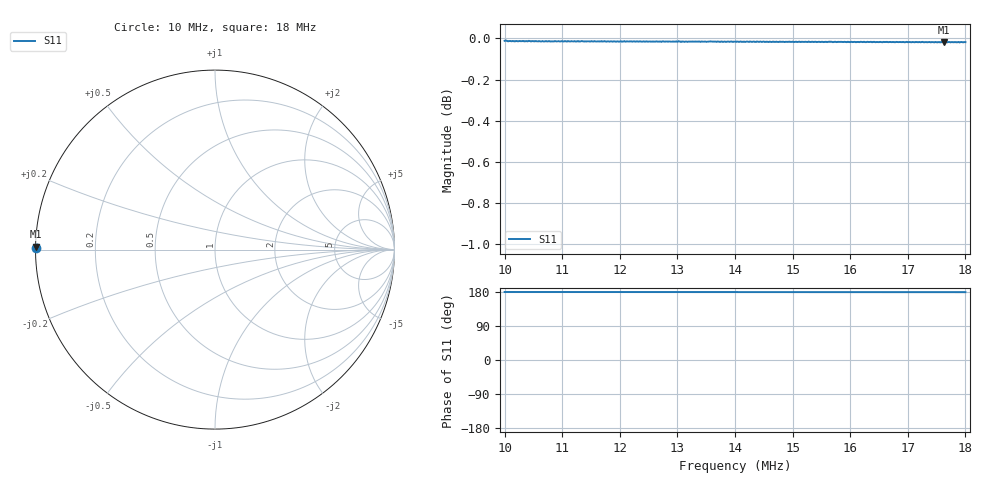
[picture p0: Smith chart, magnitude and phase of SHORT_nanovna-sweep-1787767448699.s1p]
! NanoVNA Web complex sweep
! Processing: original sample grid, no browser smoothing
# Hz S RI R 50
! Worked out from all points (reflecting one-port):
!   401 points, 10 MHz to 18 MHz, reference 50 ohm
!   lowest |S11| = 0.0 dB at 17.62 MHz (marker M1), VSWR 907.96, Z = 0.0551 + j0.409 ohm
!   phase of S11 starts at 179 deg and turns -0 deg over the sweep
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1e7  -0.9987 0.00928
1.008e7  -0.9985 0.00923
1.014e7  -0.9985 0.00926
1.04e7  -0.9984 0.00961
1.066e7  -0.9985 0.00985
1.1e7  -0.9985 0.0102
1.126e7  -0.9984 0.0103
1.136e7  -0.9984 0.0104
1.14e7  -0.9984 0.0106
1.16e7  -0.9983 0.0107
1.2e7  -0.9983 0.011
1.292e7  -0.9983 0.0119
1.3e7  -0.9981 0.0121
1.31e7  -0.9982 0.0122
1.334e7  -0.9981 0.0124
1.348e7  -0.9982 0.0125
1.358e7  -0.9983 0.0126
1.376e7  -0.9982 0.0127
1.4e7  -0.9981 0.013
1.5e7  -0.9981 0.0139
1.532e7  -0.998 0.0141
1.556e7  -0.998 0.0144
1.564e7  -0.9981 0.0144
1.574e7  -0.9981 0.0146
1.6e7  -0.9979 0.0147
1.7e7  -0.9978 0.0158
1.762e7  -0.9977 0.0163
1.8e7  -0.9978 0.0168
